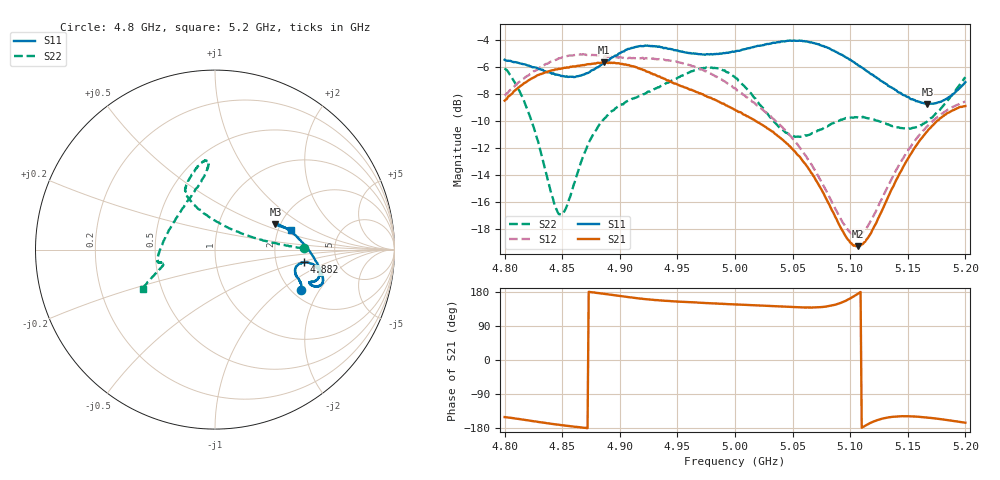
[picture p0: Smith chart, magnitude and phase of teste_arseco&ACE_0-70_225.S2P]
! Network Analyzer HP8722D
! Hewlett-Packard
! Data name: Linha & Wilkinson
! Saver's name: Rodrigo Anjos
! Comments: Teste da utilização de aquisição
! continua pelo VNA HP8722D
! Time and date: 8/5/2025 14:38
!  Frequency  S11  S21  S12  S22
# HZ  S  MA R 50
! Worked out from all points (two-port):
!   401 points, 4.8 GHz to 5.2 GHz, reference 50 ohm
!   highest |S21| = -5.68 dB at 4.886 GHz (marker M1); lowest = -19.3 dB at 5.107 GHz (marker M2)
!   |S21| within 3 dB of the highest: start of sweep to 4.988 GHz
!   lowest |S11| = -8.8 dB at 5.167 GHz (marker M3), VSWR 2.15, Z = 94.3 + j30.6 ohm
!   |S11| at or under -10 dB: nowhere
!   |S22| runs from -17.0 to -6.0 dB; largest |S21 - S12| = 1.1
!   S11 on the Smith chart (normalised r, x): 4.8 GHz: 2.24, -1.42; 4.882 GHz: 2.91, -0.55; 5.2 GHz: 2.36, +0.65
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4.8e9  0.5323 -25.2  0.3754 -150.6  0.3922 8.7  0.4948 0.9
4.82e9  0.5068 -20.8  0.4445 -159.0  0.4645 5.8  0.3465 5.6
4.842e9  0.4743 -17.7  0.4871 -168.9  0.5257 2.3  0.1624 37.7
4.847e9  0.467 -16.4  0.493 -170.7  0.5387 1.4  0.1425 56.2
4.853e9  0.4607 -14.8  0.4965 -173.2  0.5475 0.4  0.1489 79.9
4.867e9  0.4663 -11.1  0.5072 -178.2  0.5561 -1.7  0.2261 109.5
4.882e9  0.5031 -8.1  0.5183 176.2  0.5522 -2.8  0.3048 116.6
4.886e9  0.5183 -8.0  0.5201 175.0  0.5489 -2.9  0.32 117.1
4.909e9  0.5858 -10.9  0.5057 165.3  0.5413 -2.3  0.3782 116.1
4.934e9  0.5966 -16.2  0.4617 157.4  0.5353 -3.0  0.4204 109.6
4.975e9  0.5579 -19.4  0.3905 150.1  0.4831 -6.6  0.4984 96.8
5e9  0.571 -19.9  0.3471 146.7  0.4183 -6.4  0.4588 95.2
5.042e9  0.6232 -18.4  0.2674 140.8  0.296 1.2  0.2909 129.2
5.067e9  0.616 -13.9  0.2009 138.5  0.2156 8.9  0.2845 164.8
5.095e9  0.5471 -4.0  0.1199 154.8  0.1299 35.1  0.3215 -172.4
5.107e9  0.5073 1.7  0.1083 175.5  0.1188 58.4  0.3245 -168.7
5.117e9  0.4743 6.7  0.119 -166.9  0.1323 77.3  0.3223 -167.2
5.134e9  0.4243 15.0  0.1687 -151.0  0.185 94.6  0.3049 -166.4
5.151e9  0.3857 20.8  0.2319 -148.5  0.2488 99.8  0.2962 -164.8
5.167e9  0.365 22.7  0.2891 -152.0  0.302 100.7  0.3147 -161.8
5.182e9  0.3787 20.7  0.3324 -157.6  0.3413 100.6  0.3642 -157.6
5.2e9  0.4397 14.6  0.3584 -165.4  0.3724 101.1  0.4586 -151.6
